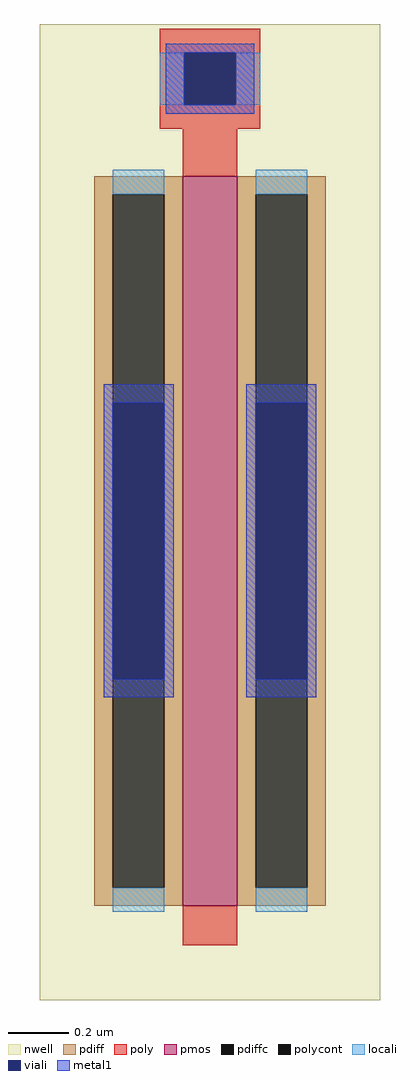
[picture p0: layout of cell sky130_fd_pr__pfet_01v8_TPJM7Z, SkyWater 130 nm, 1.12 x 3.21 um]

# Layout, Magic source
magic
tech sky130A
magscale 1 2
<< nwell >>
rect -112 -338 112 304
<< pmos >>
rect -18 -276 18 204
<< pdiff >>
rect -76 192 -18 204
rect -76 -264 -64 192
rect -30 -264 -18 192
rect -76 -276 -18 -264
rect 18 192 76 204
rect 18 -264 30 192
rect 64 -264 76 192
rect 18 -276 76 -264
<< pdiffc >>
rect -64 -264 -30 192
rect 30 -264 64 192
<< poly >>
rect -33 285 33 301
rect -33 251 -17 285
rect 17 251 33 285
rect -33 235 33 251
rect -18 204 18 235
rect -18 -302 18 -276
<< polycont >>
rect -17 251 17 285
<< locali >>
rect -33 251 -17 285
rect 17 251 33 285
rect -64 192 -30 208
rect -64 -280 -30 -264
rect 30 192 64 208
rect 30 -280 64 -264
<< viali >>
rect -17 251 17 285
rect -64 -127 -30 55
rect 30 -127 64 55
<< metal1 >>
rect -29 285 29 291
rect -29 251 -17 285
rect 17 251 29 285
rect -29 245 29 251
rect -70 55 -24 67
rect -70 -127 -64 55
rect -30 -127 -24 55
rect -70 -139 -24 -127
rect 24 55 70 67
rect 24 -127 30 55
rect 64 -127 70 55
rect 24 -139 70 -127
<< properties >>
string gencell sky130_fd_pr__pfet_01v8
string library sky130
string parameters w 2.4 l 0.18 m 1 nf 1 diffcov 100 polycov 100 guard 0 glc 0 grc 0 gtc 1 gbc 1 tbcov 100 rlcov 100 topc 1 botc 0 poverlap 0 doverlap 1 lmin 0.15 wmin 0.42 compatible {sky130_fd_pr__pfet_01v8  sky130_fd_pr__pfet_01v8_lvt sky130_fd_pr__pfet_01v8_hvt  sky130_fd_pr__pfet_g5v0d10v5} full_metal 0 viasrc 40 viadrn 40 viagate 100 viagb 0 viagr 0 viagl 0 viagt 80
<< end >>
